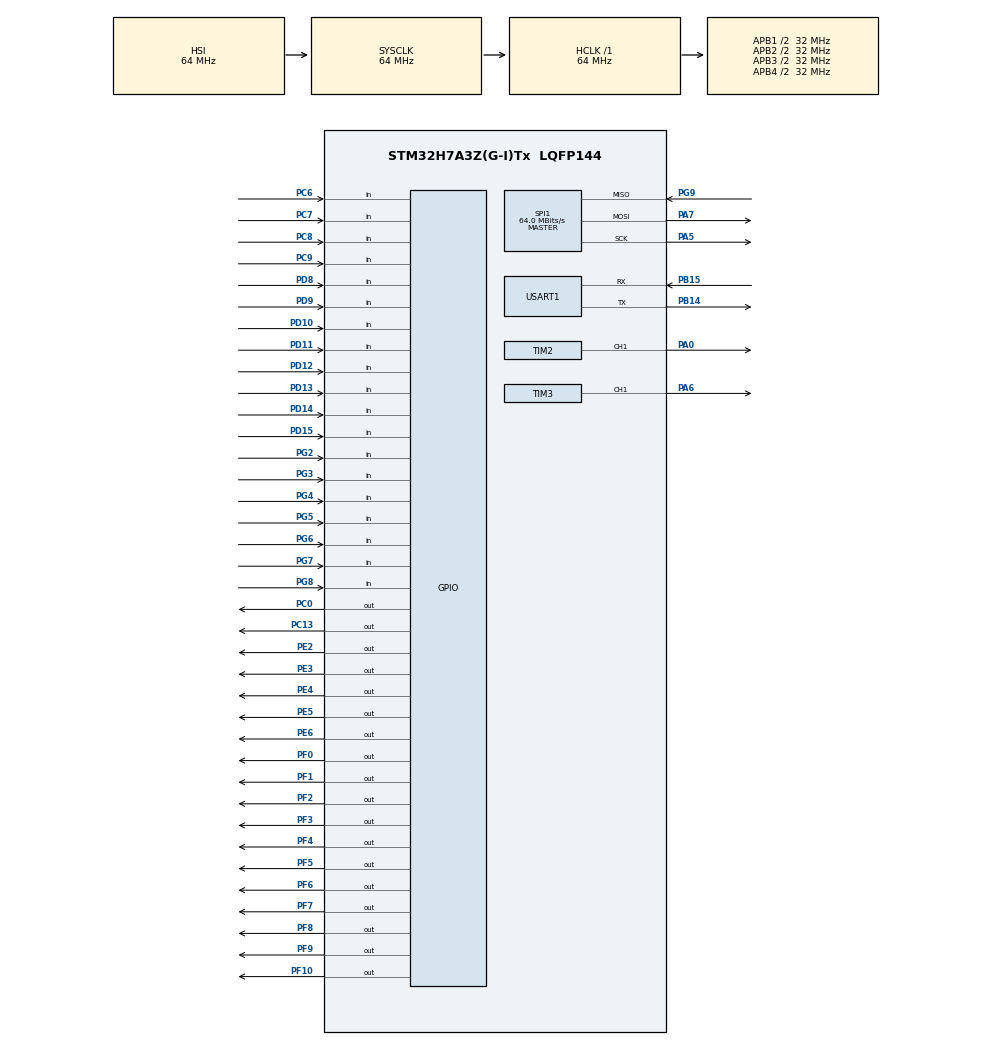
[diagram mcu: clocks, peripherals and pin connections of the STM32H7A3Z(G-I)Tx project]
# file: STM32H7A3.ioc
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Mcu.Family=STM32H7
Mcu.Name=STM32H7A3Z(G-I)Tx
Mcu.Package=LQFP144
NVIC.PriorityGroup=NVIC_PRIORITYGROUP_4
PA0.Signal=S_TIM2_CH1
PA13.Mode=Serial_Wire
PA13.Signal=DEBUG_JTMS-SWDIO
PA14.Mode=Serial_Wire
PA14.Signal=DEBUG_JTCK-SWCLK
PA5.Mode=Full_Duplex_Master
PA5.Signal=SPI1_SCK
PA6.Signal=S_TIM3_CH1
PA7.Mode=Full_Duplex_Master
PA7.Signal=SPI1_MOSI
PB14.Mode=Asynchronous
PB14.Signal=USART1_TX
PB15.Mode=Asynchronous
PB15.Signal=USART1_RX
PC0.Signal=GPIO_Output
PC13.Signal=GPIO_Output
PC6.Signal=GPIO_Input
PC7.Signal=GPIO_Input
PC8.Signal=GPIO_Input
PC9.Signal=GPIO_Input
PD10.Signal=GPIO_Input
PD11.Signal=GPIO_Input
PD12.Signal=GPIO_Input
PD13.Signal=GPIO_Input
PD14.Signal=GPIO_Input
PD15.Signal=GPIO_Input
PD8.Signal=GPIO_Input
PD9.Signal=GPIO_Input
PE2.Signal=GPIO_Output
PE3.Signal=GPIO_Output
PE4.Signal=GPIO_Output
PE5.Signal=GPIO_Output
PE6.Signal=GPIO_Output
PF0.Signal=GPIO_Output
PF1.Signal=GPIO_Output
PF10.Signal=GPIO_Output
PF2.Signal=GPIO_Output
PF3.Signal=GPIO_Output
PF4.Signal=GPIO_Output
PF5.Signal=GPIO_Output
PF6.Signal=GPIO_Output
PF7.Signal=GPIO_Output
PF8.Signal=GPIO_Output
PF9.Signal=GPIO_Output
PG2.Signal=GPIO_Input
PG3.Signal=GPIO_Input
PG4.Signal=GPIO_Input
PG5.Signal=GPIO_Input
PG6.Signal=GPIO_Input
PG7.Signal=GPIO_Input
PG8.Signal=GPIO_Input
PG9.Mode=Full_Duplex_Master
PG9.Signal=SPI1_MISO
ProjectManager.HeapSize=0x200
ProjectManager.StackSize=0x400
ProjectManager.TargetToolchain=EWARM V8.32
RCC.ADCFreq_Value=129000000
RCC.APB1Freq_Value=32000000
RCC.APB2Freq_Value=32000000
RCC.APB3Freq_Value=32000000
RCC.APB4Freq_Value=32000000
RCC.CDPPRE=RCC_APB3_DIV2
RCC.CDPPRE1=RCC_APB1_DIV2
RCC.CDPPRE2=RCC_APB2_DIV2
RCC.CortexFreq_Value=64000000
RCC.DIVM1=4
RCC.DIVN1=8
RCC.DIVQ1=1
RCC.HCLKFreq_Value=64000000
RCC.PLLFRACN=0
RCC.SRDPPRE=RCC_APB4_DIV2
RCC.SYSCLKFreq_VALUE=64000000
RCC.USBFreq_Value=128000000
SH.S_TIM2_CH1.0=TIM2_CH1,PWM Generation1 CH1
SH.S_TIM3_CH1.0=TIM3_CH1,PWM Generation1 CH1
SPI1.CalculateBaudRate=64.0 MBits/s
SPI1.Direction=SPI_DIRECTION_2LINES
SPI1.Mode=SPI_MODE_MASTER
SPI1.VirtualType=VM_MASTER
TIM2.Channel-PWM\ Generation1\ CH1=TIM_CHANNEL_1
TIM3.Channel-PWM\ Generation1\ CH1=TIM_CHANNEL_1
USART1.VirtualMode-Asynchronous=VM_ASYNC
board=custom

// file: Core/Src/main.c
/* USER CODE BEGIN Header */
/**
  ******************************************************************************
  * @file           : main.c
  * @brief          : Main program body
  ******************************************************************************
  * @attention
  *
  * <h2><center>&copy; Copyright (c) 2021 STMicroelectronics.
  * All rights reserved.</center></h2>
  *
  * This software component is licensed by ST under BSD 3-Clause license,
  * the "License"; You may not use this file except in compliance with the
  * License. You may obtain a copy of the License at:
  *                        opensource.org/licenses/BSD-3-Clause
  *
  ******************************************************************************
  */
/* USER CODE END Header */
#include "main.h"

/* USER CODE BEGIN PD */

// Inputs
#define REALIZE_BRAKES_PORT              GPIOD
#define MOTOR_Z_UP_PORT                  GPIOD
#define MOTOR_Z_DOWN_PORT                GPIOD
#define MOTOR_Z_LIMIT_UP_PORT            GPIOD
#define MOTOR_Z_LIMIT_DOWN_PORT          GPIOD
#define MOTOR_TILT_UP_PORT               GPIOD
#define MOTOR_TILT_DOWN_PORT             GPIOD
#define MOTOR_TILT_LIMIT_UP_PORT         GPIOD
#define MOTOR_TILT_LIMIT_DOWN_PORT       GPIOG
#define BRAKE_X_PORT                     GPIOG
#define BRAKE_ROTATE_PORT                GPIOG
#define BRAKE_SPARE_A_PORT               GPIOG
#define BRAKE_SPARE_B_PORT               GPIOG
#define BRAKE_SPARE_C_PORT               GPIOG
#define BRAKE_SPARE_D_PORT               GPIOG
#define END_AFFECTO_PORT                 GPIOC
#define NFAULT_GLOBAL_PORT               GPIOC
#define MOTOR_N_FORWARD_PORT             GPIOC
#define MOTOR_N_BACKWARD_PORT            GPIOC

#define REALIZE_BRAKES_PIN              GPIO_PIN_8
#define MOTOR_Z_UP_PIN                  GPIO_PIN_9
#define MOTOR_Z_DOWN_PIN                GPIO_PIN_10
#define MOTOR_Z_LIMIT_UP_PIN            GPIO_PIN_11
#define MOTOR_Z_LIMIT_DOWN_PIN          GPIO_PIN_12
#define MOTOR_TILT_UP_PIN               GPIO_PIN_13
#define MOTOR_TILT_DOWN_PIN             GPIO_PIN_14
#define MOTOR_TILT_LIMIT_UP_PIN         GPIO_PIN_15
#define MOTOR_TILT_LIMIT_DOWN_PIN       GPIO_PIN_2
#define BRAKE_X_PIN                     GPIO_PIN_3
#define BRAKE_ROTATE_PIN                GPIO_PIN_4
#define BRAKE_SPARE_A_PIN               GPIO_PIN_5
#define BRAKE_SPARE_B_PIN               GPIO_PIN_6
#define BRAKE_SPARE_C_PIN               GPIO_PIN_7
#define BRAKE_SPARE_D_PIN               GPIO_PIN_8
#define END_AFFECTO_PIN                 GPIO_PIN_6
#define NFAULT_GLOBAL_PIN               GPIO_PIN_7
#define MOTOR_N_FORWARD_PIN             GPIO_PIN_8
#define MOTOR_N_BACKWARD_PIN            GPIO_PIN_9

// Outputs
#define ENABLE_BRAKES_PORT       GPIOE
#define BRAKE_Z_ON_N_PORT        GPIOE
#define BRAKE_X_ON_N_PORT        GPIOE
#define BRAKE_TILT_ON_N_PORT     GPIOE
#define BRAKE_ROTATE_ON_PORT     GPIOE
#define BRAKE_SPARE_A_ON_PORT    GPIOC
#define BRAKE_SPARE_B_ON_PORT    GPIOF
#define BRAKE_SPARE_C_ON_PORT    GPIOF
#define BRAKE_SPARE_D_ON_PORT    GPIOF
#define MOTOR_Z_DIR_PORT         GPIOF
#define MOTOR_Z_ENABLE_PORT      GPIOF
#define MOTOR_TILT_DIR_PORT      GPIOF
#define MOTOR_TILT_ENABLE_PORT   GPIOF
#define END_AFFECTO_DIR_PORT     GPIOF
#define MOTOR_N_INA_PORT         GPIOF
#define MOTOR_N_INB_PORT         GPIOF
#define SPARE_ENABLE_A_PORT      GPIOF
#define SPARE_ENABLE_B_PORT      GPIOC

#define ENABLE_BRAKES_PIN       GPIO_PIN_2
#define BRAKE_Z_ON_N_PIN        GPIO_PIN_3
#define BRAKE_X_ON_N_PIN        GPIO_PIN_4
#define BRAKE_TILT_ON_N_PIN     GPIO_PIN_5
#define BRAKE_ROTATE_ON_PIN     GPIO_PIN_6
#define BRAKE_SPARE_A_ON_PIN    GPIO_PIN_13
#define BRAKE_SPARE_B_ON_PIN    GPIO_PIN_0
#define BRAKE_SPARE_C_ON_PIN    GPIO_PIN_1
#define BRAKE_SPARE_D_ON_PIN    GPIO_PIN_2
#define MOTOR_Z_DIR_PIN         GPIO_PIN_3
#define MOTOR_Z_ENABLE_PIN      GPIO_PIN_4
#define MOTOR_TILT_DIR_PIN      GPIO_PIN_5
#define MOTOR_TILT_ENABLE_PIN   GPIO_PIN_6
#define END_AFFECTO_DIR_PIN     GPIO_PIN_7
#define MOTOR_N_INA_PIN         GPIO_PIN_8
#define MOTOR_N_INB_PIN         GPIO_PIN_9
#define SPARE_ENABLE_A_PIN      GPIO_PIN_10
#define SPARE_ENABLE_B_PIN      GPIO_PIN_0

#define MOTOR_Z_STEP_TIM        htim2
#define MOTOR_Z_STEP_CH         1

#define MOTOR_TILT_STEP_TIM     htim3
#define MOTOR_TILT_STEP_CH      1

/* USER CODE END PD */

SPI_HandleTypeDef hspi1;

TIM_HandleTypeDef htim2;
TIM_HandleTypeDef htim3;

UART_HandleTypeDef huart1;

void SystemClock_Config(void);
static void MX_GPIO_Init(void);
static void MX_SPI1_Init(void);
static void MX_TIM2_Init(void);
static void MX_USART1_UART_Init(void);
static void MX_TIM3_Init(void);

int main(void)
{

  /* MCU Configuration--------------------------------------------------------*/

  /* Reset of all peripherals, Initializes the Flash interface and the Systick. */
  HAL_Init();

  /* Configure the system clock */
  SystemClock_Config();

  /* Initialize all configured peripherals */
  MX_GPIO_Init();
  MX_SPI1_Init();
  MX_TIM2_Init();
  MX_USART1_UART_Init();
  MX_TIM3_Init();

  /* Infinite loop */
  /* USER CODE BEGIN WHILE */
  while (1)
  {
    //Realize_brakes  = high 	Realize  all  brakes  	Enable_brakes	High= realize
    if(HAL_GPIO_ReadPin(REALIZE_BRAKES_PORT, REALIZE_BRAKES_PIN) == GPIO_PIN_SET)
      HAL_GPIO_WritePin(ENABLE_BRAKES_PORT, ENABLE_BRAKES_PIN, GPIO_PIN_SET);

    ////////////////////////////////////////////////////////////////////////////

    //Motor_z_up =H     Realize    brakes Z   Brake_z_on      Low  =  realize
    //                  Motor   Z  dir  = 1   Motor_Z_dir     High= up
    //                  Motor   Z  step pwm   Motor_Z_step    Pwm  1khz
    //                                        Motor_z_enable  Enable = high
    if(HAL_GPIO_ReadPin(MOTOR_Z_UP_PORT, MOTOR_Z_UP_PIN) == GPIO_PIN_SET)
    {
      HAL_GPIO_WritePin(BRAKE_Z_ON_N_PORT, BRAKE_Z_ON_N_PIN, GPIO_PIN_RESET);
      HAL_GPIO_WritePin(MOTOR_Z_DIR_PORT, MOTOR_Z_DIR_PIN, GPIO_PIN_SET);
      HAL_TIMEx_PWMN_Start(&MOTOR_Z_STEP_TIM, 1);
      HAL_GPIO_WritePin(MOTOR_Z_ENABLE_PORT, MOTOR_Z_ENABLE_PIN, GPIO_PIN_SET);
    }

    //Motor_z_down = H  Realize    brakes Z     Brake_z_on      Low  =  realize
    //                  Motor   Z  dir  = 0     Motor_Z_dir     low= down
    //                  Motor   Z  step pwm     Motor_Z_step    Pwm  1khz
    //                                          Motor_z_enable Enable = high
    if(HAL_GPIO_ReadPin(MOTOR_Z_DOWN_PORT, MOTOR_Z_DOWN_PIN) == GPIO_PIN_SET)
    {
      HAL_GPIO_WritePin(BRAKE_Z_ON_N_PORT, BRAKE_Z_ON_N_PIN, GPIO_PIN_RESET);
      HAL_GPIO_WritePin(MOTOR_Z_DIR_PORT, MOTOR_Z_DIR_PIN, GPIO_PIN_RESET);
      HAL_TIMEx_PWMN_Start(&MOTOR_Z_STEP_TIM, 1);
      HAL_GPIO_WritePin(MOTOR_Z_ENABLE_PORT, MOTOR_Z_ENABLE_PIN, GPIO_PIN_SET);
    }

    //Motor_z_up =low    Brake z  on    Motor_Z_step     High  =  hold
    //Motor_z_down =low  Motor z  stop  brake_z_on       Low = stop
    //                                  Motor_z_enable  Disable = low
    if((HAL_GPIO_ReadPin(MOTOR_Z_UP_PORT, MOTOR_Z_UP_PIN) == GPIO_PIN_RESET) &&
       (HAL_GPIO_ReadPin(MOTOR_Z_DOWN_PORT, MOTOR_Z_DOWN_PIN) == GPIO_PIN_RESET))
    {
      HAL_TIMEx_PWMN_Start(&MOTOR_Z_STEP_TIM, MOTOR_Z_STEP_CH);
      HAL_GPIO_WritePin(BRAKE_Z_ON_N_PORT, BRAKE_Z_ON_N_PIN, GPIO_PIN_RESET);
      HAL_GPIO_WritePin(MOTOR_Z_ENABLE_PORT, MOTOR_Z_ENABLE_PIN, GPIO_PIN_RESET);
    }

    //Motor_z_limit_up = high   move up   Motor_z_enable  Disable = low
    //And  motor_z_up = high	Limit
    if((HAL_GPIO_ReadPin(MOTOR_Z_LIMIT_UP_PORT, MOTOR_Z_LIMIT_UP_PIN) == GPIO_PIN_SET) &&
       (HAL_GPIO_ReadPin(MOTOR_Z_UP_PORT, MOTOR_Z_UP_PIN) == GPIO_PIN_SET))
      HAL_GPIO_WritePin(MOTOR_Z_ENABLE_PORT, MOTOR_Z_ENABLE_PIN, GPIO_PIN_RESET);

    //Motor_z_limit_Down = high   Limit  move down      Motor_z_enable 	Disable = low
    //And  motor_z_down = high
    if((HAL_GPIO_ReadPin(MOTOR_Z_LIMIT_DOWN_PORT, MOTOR_Z_LIMIT_DOWN_PIN) == GPIO_PIN_SET) &&
       (HAL_GPIO_ReadPin(MOTOR_Z_DOWN_PORT, MOTOR_Z_DOWN_PIN) == GPIO_PIN_SET))
      HAL_GPIO_WritePin(MOTOR_Z_ENABLE_PORT, MOTOR_Z_ENABLE_PIN, GPIO_PIN_RESET);

    ////////////////////////////////////////////////////////////////////////////

    //Motor_tilt_up =H	Realize    brakes  tilt 	        Brake_tilt_on 	       Low  =  realize
    //                             Motor   tilt  dir  = 1       Motor_tilt_dir         High= up
    //                             Motor   tilt  step     pwm	Motor_tilt_step        Pwm  1khz
    //                                                          Motor_tilt_enable      Enable=high
    if(HAL_GPIO_ReadPin(MOTOR_TILT_UP_PORT, MOTOR_TILT_UP_PIN) == GPIO_PIN_SET)
    {
      HAL_GPIO_WritePin(BRAKE_TILT_ON_N_PORT, BRAKE_TILT_ON_N_PIN, GPIO_PIN_RESET);
      HAL_GPIO_WritePin(MOTOR_TILT_DIR_PORT, MOTOR_TILT_DIR_PIN, GPIO_PIN_SET);
      HAL_TIMEx_OnePulseN_Start(&MOTOR_TILT_STEP_TIM, MOTOR_TILT_STEP_CH);
      HAL_GPIO_WritePin(MOTOR_TILT_ENABLE_PORT, MOTOR_TILT_ENABLE_PIN, GPIO_PIN_SET);
    }

    //Motor_tilt_down =H   Realize brakes  tilt        Brake_tilt_on 	   Low  =  realize
    //                     Motor   tilt  dir  = 0      Motor_tilt_dir      low= down
    //                     Motor   tilt  step  pwm     Motor_tilt_step     Pwm  1khz
    //                                                 Motor_tilt_enable   Enable = high
    if(HAL_GPIO_ReadPin(MOTOR_TILT_DOWN_PORT, MOTOR_TILT_DOWN_PIN) == GPIO_PIN_SET)
    {
      HAL_GPIO_WritePin(BRAKE_TILT_ON_N_PORT, BRAKE_TILT_ON_N_PIN, GPIO_PIN_RESET);
      HAL_GPIO_WritePin(MOTOR_TILT_DIR_PORT, MOTOR_TILT_DIR_PIN, GPIO_PIN_RESET);
      HAL_TIMEx_OnePulseN_Start(&MOTOR_TILT_STEP_TIM, MOTOR_TILT_STEP_CH);
      HAL_GPIO_WritePin(MOTOR_TILT_ENABLE_PORT, MOTOR_TILT_ENABLE_PIN, GPIO_PIN_SET);
    }

    //Motor_tilt_up =low     Brake tilt  on    Motor_tilt_step     High  =  hold
    //Motor_tilt_down =low   Motor tilt stop   brake_tilt_on       Low = stop
    //                                         Motor_tilt_enable   Disable= low
    if((HAL_GPIO_ReadPin(MOTOR_TILT_UP_PORT, MOTOR_TILT_UP_PIN) == GPIO_PIN_RESET) &&
       (HAL_GPIO_ReadPin(MOTOR_TILT_DOWN_PORT, MOTOR_TILT_DOWN_PIN) == GPIO_PIN_RESET))
    {
      HAL_TIMEx_PWMN_Start(&MOTOR_TILT_STEP_TIM, MOTOR_TILT_STEP_CH);
      HAL_GPIO_WritePin(BRAKE_TILT_ON_N_PORT, BRAKE_TILT_ON_N_PIN, GPIO_PIN_RESET);
      HAL_GPIO_WritePin(MOTOR_TILT_ENABLE_PORT, MOTOR_TILT_ENABLE_PIN, GPIO_PIN_RESET);
    }

    //Motor_tilt_limit_up = high        Limit  move up 	Motor_tilt_enable	Disable= low
    //And  motor_tilt_up = high
    if((HAL_GPIO_ReadPin(MOTOR_TILT_LIMIT_UP_PORT, MOTOR_TILT_LIMIT_UP_PIN) == GPIO_PIN_SET) &&
       (HAL_GPIO_ReadPin(MOTOR_TILT_UP_PORT, MOTOR_TILT_UP_PIN) == GPIO_PIN_SET))
      HAL_GPIO_WritePin(MOTOR_TILT_ENABLE_PORT, MOTOR_TILT_ENABLE_PIN, GPIO_PIN_RESET);

    //Motor_tilt_limit_Down = high   Limit  move down	Motor_tilt_enable	Disable= low
    //And  motor_tilt_down = high
    if((HAL_GPIO_ReadPin(MOTOR_TILT_LIMIT_DOWN_PORT, MOTOR_TILT_LIMIT_DOWN_PIN) == GPIO_PIN_SET) &&
       (HAL_GPIO_ReadPin(MOTOR_TILT_DOWN_PORT, MOTOR_TILT_DOWN_PIN) == GPIO_PIN_SET))
      HAL_GPIO_WritePin(MOTOR_TILT_ENABLE_PORT, MOTOR_TILT_ENABLE_PIN, GPIO_PIN_RESET);

    ////////////////////////////////////////////////////////////////////////////

    //Brake_X = H   Realize    brakes  X	Brake_x_on 	 Low  =  realize
    if(HAL_GPIO_ReadPin(BRAKE_X_PORT, BRAKE_X_PIN) == GPIO_PIN_SET)
      HAL_GPIO_WritePin(BRAKE_X_ON_N_PORT, BRAKE_X_ON_N_PIN, GPIO_PIN_RESET);

    //Brake_X = Low   brakes  X	Brake_x_on	High  =  hold
    if(HAL_GPIO_ReadPin(BRAKE_X_PORT, BRAKE_X_PIN) == GPIO_PIN_RESET)
      HAL_GPIO_WritePin(BRAKE_X_ON_N_PORT, BRAKE_X_ON_N_PIN, GPIO_PIN_SET);

    ////////////////////////////////////////////////////////////////////////////

    //Brake_rotate = H    Realize    brakes  X	Brake_x_on 	 Low  =  realize
    if(HAL_GPIO_ReadPin(BRAKE_ROTATE_PORT, BRAKE_ROTATE_PIN) == GPIO_PIN_SET)
      HAL_GPIO_WritePin(BRAKE_X_ON_N_PORT, BRAKE_X_ON_N_PIN, GPIO_PIN_RESET);

    //Brake_rotate = Low Brakes  X on	Brake_x_on	High  =  hold
    if(HAL_GPIO_ReadPin(BRAKE_ROTATE_PORT, BRAKE_ROTATE_PIN) == GPIO_PIN_RESET)
      HAL_GPIO_WritePin(BRAKE_X_ON_N_PORT, BRAKE_X_ON_N_PIN, GPIO_PIN_SET);

    ////////////////////////////////////////////////////////////////////////////

    //End_affecto = high   End_affecto move  in one direction	End_affecto_dir   High  = out
    //End_affecto = low                                                           Low = in
    if(HAL_GPIO_ReadPin(END_AFFECTO_PORT, END_AFFECTO_PIN) == GPIO_PIN_SET)
      HAL_GPIO_WritePin(END_AFFECTO_DIR_PORT, END_AFFECTO_DIR_PIN, GPIO_PIN_SET);

    if(HAL_GPIO_ReadPin(END_AFFECTO_PORT, END_AFFECTO_PIN) == GPIO_PIN_RESET)
      HAL_GPIO_WritePin(END_AFFECTO_DIR_PORT, END_AFFECTO_DIR_PIN, GPIO_PIN_RESET);

    ////////////////////////////////////////////////////////////////////////////

    //Motor_n_forward=HIGH	Move  motor N forward 	Motor_n_ina  Motor_n_ina = 1
    //                                                  Motor_n_inb  Motor_n_inb=0
    if(HAL_GPIO_ReadPin(MOTOR_N_FORWARD_PORT, MOTOR_N_FORWARD_PIN) == GPIO_PIN_SET)
    {
      HAL_GPIO_WritePin(MOTOR_N_INA_PORT, MOTOR_N_INA_PIN, GPIO_PIN_SET);
      HAL_GPIO_WritePin(MOTOR_N_INB_PORT, MOTOR_N_INB_PIN, GPIO_PIN_RESET);
    }

    //Motor_n_backward=HIGH	Move  motor N backward 	Motor_n_ina   Motor_n_ina = 0
    //                                                  Motor_n_inb   Motor_n_inb=1
    if(HAL_GPIO_ReadPin(MOTOR_N_BACKWARD_PORT, MOTOR_N_BACKWARD_PIN) == GPIO_PIN_SET)
    {
      HAL_GPIO_WritePin(MOTOR_N_INA_PORT, MOTOR_N_INA_PIN, GPIO_PIN_RESET);
      HAL_GPIO_WritePin(MOTOR_N_INB_PORT, MOTOR_N_INB_PIN, GPIO_PIN_SET);
    }

    //Motor_n_forward=Low   Motor n  stop   Motor_n_ina   Motor_n_ina = 0
    //Motor_n_backward=Low	            Motor_n_inb   Motor_n_inb=0
    if((HAL_GPIO_ReadPin(MOTOR_N_FORWARD_PORT, MOTOR_N_FORWARD_PIN) == GPIO_PIN_RESET) &&
      (HAL_GPIO_ReadPin(MOTOR_N_BACKWARD_PORT, MOTOR_N_BACKWARD_PIN) == GPIO_PIN_RESET))
    {
      HAL_GPIO_WritePin(MOTOR_N_INA_PORT, MOTOR_N_INA_PIN, GPIO_PIN_RESET);
      HAL_GPIO_WritePin(MOTOR_N_INB_PORT, MOTOR_N_INB_PIN, GPIO_PIN_RESET);
    }

    /* USER CODE END WHILE */

  }
}

void SystemClock_Config(void)
{
  RCC_OscInitTypeDef RCC_OscInitStruct = {0};
  RCC_ClkInitTypeDef RCC_ClkInitStruct = {0};

  /** Supply configuration update enable
  */
  //HAL_PWREx_ConfigSupply(PWR_DIRECT_SMPS_SUPPLY);
  /** Configure the main internal regulator output voltage
  */
  __HAL_PWR_VOLTAGESCALING_CONFIG(PWR_REGULATOR_VOLTAGE_SCALE3);

  while(!__HAL_PWR_GET_FLAG(PWR_FLAG_VOSRDY)) {}
  /** Initializes the RCC Oscillators according to the specified parameters
  * in the RCC_OscInitTypeDef structure.
  */
  RCC_OscInitStruct.OscillatorType = RCC_OSCILLATORTYPE_HSI;
  RCC_OscInitStruct.HSIState = RCC_HSI_DIV1;
  RCC_OscInitStruct.HSICalibrationValue = RCC_HSICALIBRATION_DEFAULT;
  RCC_OscInitStruct.PLL.PLLState = RCC_PLL_ON;
  RCC_OscInitStruct.PLL.PLLSource = RCC_PLLSOURCE_HSI;
  RCC_OscInitStruct.PLL.PLLM = 4;
  RCC_OscInitStruct.PLL.PLLN = 8;
  RCC_OscInitStruct.PLL.PLLP = 2;
  RCC_OscInitStruct.PLL.PLLQ = 1;
  RCC_OscInitStruct.PLL.PLLR = 2;
  RCC_OscInitStruct.PLL.PLLRGE = RCC_PLL1VCIRANGE_3;
  RCC_OscInitStruct.PLL.PLLVCOSEL = RCC_PLL1VCOWIDE;
  RCC_OscInitStruct.PLL.PLLFRACN = 0;
  if (HAL_RCC_OscConfig(&RCC_OscInitStruct) != HAL_OK)
  {
    Error_Handler();
  }
  /** Initializes the CPU, AHB and APB buses clocks
  */
  RCC_ClkInitStruct.ClockType = RCC_CLOCKTYPE_HCLK|RCC_CLOCKTYPE_SYSCLK
                              |RCC_CLOCKTYPE_PCLK1|RCC_CLOCKTYPE_PCLK2
                              |RCC_CLOCKTYPE_D3PCLK1|RCC_CLOCKTYPE_D1PCLK1;
  RCC_ClkInitStruct.SYSCLKSource = RCC_SYSCLKSOURCE_HSI;
  RCC_ClkInitStruct.SYSCLKDivider = RCC_SYSCLK_DIV1;
  RCC_ClkInitStruct.AHBCLKDivider = RCC_HCLK_DIV1;
  RCC_ClkInitStruct.APB3CLKDivider = RCC_APB3_DIV2;
  RCC_ClkInitStruct.APB1CLKDivider = RCC_APB1_DIV2;
  RCC_ClkInitStruct.APB2CLKDivider = RCC_APB2_DIV2;
  RCC_ClkInitStruct.APB4CLKDivider = RCC_APB4_DIV2;

  if (HAL_RCC_ClockConfig(&RCC_ClkInitStruct, FLASH_LATENCY_2) != HAL_OK)
  {
    Error_Handler();
  }
}

static void MX_SPI1_Init(void)
{

  /* SPI1 parameter configuration*/
  hspi1.Instance = SPI1;
  hspi1.Init.Mode = SPI_MODE_MASTER;
  hspi1.Init.Direction = SPI_DIRECTION_2LINES;
  hspi1.Init.DataSize = SPI_DATASIZE_4BIT;
  hspi1.Init.CLKPolarity = SPI_POLARITY_LOW;
  hspi1.Init.CLKPhase = SPI_PHASE_1EDGE;
  hspi1.Init.NSS = SPI_NSS_SOFT;
  hspi1.Init.BaudRatePrescaler = SPI_BAUDRATEPRESCALER_2;
  hspi1.Init.FirstBit = SPI_FIRSTBIT_MSB;
  hspi1.Init.TIMode = SPI_TIMODE_DISABLE;
  hspi1.Init.CRCCalculation = SPI_CRCCALCULATION_DISABLE;
  hspi1.Init.CRCPolynomial = 0x0;
  hspi1.Init.NSSPMode = SPI_NSS_PULSE_ENABLE;
  hspi1.Init.NSSPolarity = SPI_NSS_POLARITY_LOW;
  hspi1.Init.FifoThreshold = SPI_FIFO_THRESHOLD_01DATA;
  hspi1.Init.TxCRCInitializationPattern = SPI_CRC_INITIALIZATION_ALL_ZERO_PATTERN;
  hspi1.Init.RxCRCInitializationPattern = SPI_CRC_INITIALIZATION_ALL_ZERO_PATTERN;
  hspi1.Init.MasterSSIdleness = SPI_MASTER_SS_IDLENESS_00CYCLE;
  hspi1.Init.MasterInterDataIdleness = SPI_MASTER_INTERDATA_IDLENESS_00CYCLE;
  hspi1.Init.MasterReceiverAutoSusp = SPI_MASTER_RX_AUTOSUSP_DISABLE;
  hspi1.Init.MasterKeepIOState = SPI_MASTER_KEEP_IO_STATE_DISABLE;
  hspi1.Init.IOSwap = SPI_IO_SWAP_DISABLE;
  if (HAL_SPI_Init(&hspi1) != HAL_OK)
  {
    Error_Handler();
  }

}

static void MX_TIM2_Init(void)
{

  TIM_MasterConfigTypeDef sMasterConfig = {0};
  TIM_OC_InitTypeDef sConfigOC = {0};

  htim2.Instance = TIM2;
  htim2.Init.Prescaler = 0;
  htim2.Init.CounterMode = TIM_COUNTERMODE_UP;
  htim2.Init.Period = 4294967295;
  htim2.Init.ClockDivision = TIM_CLOCKDIVISION_DIV1;
  htim2.Init.AutoReloadPreload = TIM_AUTORELOAD_PRELOAD_DISABLE;
  if (HAL_TIM_PWM_Init(&htim2) != HAL_OK)
  {
    Error_Handler();
  }
  sMasterConfig.MasterOutputTrigger = TIM_TRGO_RESET;
  sMasterConfig.MasterSlaveMode = TIM_MASTERSLAVEMODE_DISABLE;
  if (HAL_TIMEx_MasterConfigSynchronization(&htim2, &sMasterConfig) != HAL_OK)
  {
    Error_Handler();
  }
  sConfigOC.OCMode = TIM_OCMODE_PWM1;
  sConfigOC.Pulse = 0;
  sConfigOC.OCPolarity = TIM_OCPOLARITY_HIGH;
  sConfigOC.OCFastMode = TIM_OCFAST_DISABLE;
  if (HAL_TIM_PWM_ConfigChannel(&htim2, &sConfigOC, TIM_CHANNEL_1) != HAL_OK)
  {
    Error_Handler();
  }
  HAL_TIM_MspPostInit(&htim2);

}

static void MX_TIM3_Init(void)
{

  TIM_MasterConfigTypeDef sMasterConfig = {0};
  TIM_OC_InitTypeDef sConfigOC = {0};

  htim3.Instance = TIM3;
  htim3.Init.Prescaler = 0;
  htim3.Init.CounterMode = TIM_COUNTERMODE_UP;
  htim3.Init.Period = 65535;
  htim3.Init.ClockDivision = TIM_CLOCKDIVISION_DIV1;
  htim3.Init.AutoReloadPreload = TIM_AUTORELOAD_PRELOAD_DISABLE;
  if (HAL_TIM_PWM_Init(&htim3) != HAL_OK)
  {
    Error_Handler();
  }
  sMasterConfig.MasterOutputTrigger = TIM_TRGO_RESET;
  sMasterConfig.MasterSlaveMode = TIM_MASTERSLAVEMODE_DISABLE;
  if (HAL_TIMEx_MasterConfigSynchronization(&htim3, &sMasterConfig) != HAL_OK)
  {
    Error_Handler();
  }
  sConfigOC.OCMode = TIM_OCMODE_PWM1;
  sConfigOC.Pulse = 0;
  sConfigOC.OCPolarity = TIM_OCPOLARITY_HIGH;
  sConfigOC.OCFastMode = TIM_OCFAST_DISABLE;
  if (HAL_TIM_PWM_ConfigChannel(&htim3, &sConfigOC, TIM_CHANNEL_1) != HAL_OK)
  {
    Error_Handler();
  }
  HAL_TIM_MspPostInit(&htim3);

}

static void MX_USART1_UART_Init(void)
{

  huart1.Instance = USART1;
  huart1.Init.BaudRate = 115200;
  huart1.Init.WordLength = UART_WORDLENGTH_8B;
  huart1.Init.StopBits = UART_STOPBITS_1;
  huart1.Init.Parity = UART_PARITY_NONE;
  huart1.Init.Mode = UART_MODE_TX_RX;
  huart1.Init.HwFlowCtl = UART_HWCONTROL_NONE;
  huart1.Init.OverSampling = UART_OVERSAMPLING_16;
  huart1.Init.OneBitSampling = UART_ONE_BIT_SAMPLE_DISABLE;
  huart1.Init.ClockPrescaler = UART_PRESCALER_DIV1;
  huart1.AdvancedInit.AdvFeatureInit = UART_ADVFEATURE_NO_INIT;
  if (HAL_UART_Init(&huart1) != HAL_OK)
  {
    Error_Handler();
  }
  if (HAL_UARTEx_SetTxFifoThreshold(&huart1, UART_TXFIFO_THRESHOLD_1_8) != HAL_OK)
  {
    Error_Handler();
  }
  if (HAL_UARTEx_SetRxFifoThreshold(&huart1, UART_RXFIFO_THRESHOLD_1_8) != HAL_OK)
  {
    Error_Handler();
  }
  if (HAL_UARTEx_DisableFifoMode(&huart1) != HAL_OK)
  {
    Error_Handler();
  }

}

static void MX_GPIO_Init(void)
{
  GPIO_InitTypeDef GPIO_InitStruct = {0};

  /* GPIO Ports Clock Enable */
  __HAL_RCC_GPIOE_CLK_ENABLE();
  __HAL_RCC_GPIOC_CLK_ENABLE();
  __HAL_RCC_GPIOF_CLK_ENABLE();
  __HAL_RCC_GPIOA_CLK_ENABLE();
  __HAL_RCC_GPIOB_CLK_ENABLE();
  __HAL_RCC_GPIOD_CLK_ENABLE();
  __HAL_RCC_GPIOG_CLK_ENABLE();

  /*Configure GPIO pin Output Level */
  HAL_GPIO_WritePin(GPIOE, GPIO_PIN_2|GPIO_PIN_3|GPIO_PIN_4|GPIO_PIN_5
                          |GPIO_PIN_6, GPIO_PIN_RESET);

  /*Configure GPIO pin Output Level */
  HAL_GPIO_WritePin(GPIOC, GPIO_PIN_13|GPIO_PIN_0, GPIO_PIN_RESET);

  /*Configure GPIO pin Output Level */
  HAL_GPIO_WritePin(GPIOF, GPIO_PIN_0|GPIO_PIN_1|GPIO_PIN_2|GPIO_PIN_3
                          |GPIO_PIN_4|GPIO_PIN_5|GPIO_PIN_6|GPIO_PIN_7
                          |GPIO_PIN_8|GPIO_PIN_9|GPIO_PIN_10, GPIO_PIN_RESET);

  /*Configure GPIO pins : PE2 PE3 PE4 PE5
                           PE6 */
  GPIO_InitStruct.Pin = GPIO_PIN_2|GPIO_PIN_3|GPIO_PIN_4|GPIO_PIN_5
                          |GPIO_PIN_6;
  GPIO_InitStruct.Mode = GPIO_MODE_OUTPUT_PP;
  GPIO_InitStruct.Pull = GPIO_NOPULL;
  GPIO_InitStruct.Speed = GPIO_SPEED_FREQ_LOW;
  HAL_GPIO_Init(GPIOE, &GPIO_InitStruct);

  /*Configure GPIO pins : PC13 PC0 */
  GPIO_InitStruct.Pin = GPIO_PIN_13|GPIO_PIN_0;
  GPIO_InitStruct.Mode = GPIO_MODE_OUTPUT_PP;
  GPIO_InitStruct.Pull = GPIO_NOPULL;
  GPIO_InitStruct.Speed = GPIO_SPEED_FREQ_LOW;
  HAL_GPIO_Init(GPIOC, &GPIO_InitStruct);

  /*Configure GPIO pins : PF0 PF1 PF2 PF3
                           PF4 PF5 PF6 PF7
                           PF8 PF9 PF10 */
  GPIO_InitStruct.Pin = GPIO_PIN_0|GPIO_PIN_1|GPIO_PIN_2|GPIO_PIN_3
                          |GPIO_PIN_4|GPIO_PIN_5|GPIO_PIN_6|GPIO_PIN_7
                          |GPIO_PIN_8|GPIO_PIN_9|GPIO_PIN_10;
  GPIO_InitStruct.Mode = GPIO_MODE_OUTPUT_PP;
  GPIO_InitStruct.Pull = GPIO_NOPULL;
  GPIO_InitStruct.Speed = GPIO_SPEED_FREQ_LOW;
  HAL_GPIO_Init(GPIOF, &GPIO_InitStruct);

  /*Configure GPIO pins : PD8 PD9 PD10 PD11
                           PD12 PD13 PD14 PD15 */
  GPIO_InitStruct.Pin = GPIO_PIN_8|GPIO_PIN_9|GPIO_PIN_10|GPIO_PIN_11
                          |GPIO_PIN_12|GPIO_PIN_13|GPIO_PIN_14|GPIO_PIN_15;
  GPIO_InitStruct.Mode = GPIO_MODE_INPUT;
  GPIO_InitStruct.Pull = GPIO_NOPULL;
  HAL_GPIO_Init(GPIOD, &GPIO_InitStruct);

  /*Configure GPIO pins : PG2 PG3 PG4 PG5
                           PG6 PG7 PG8 */
  GPIO_InitStruct.Pin = GPIO_PIN_2|GPIO_PIN_3|GPIO_PIN_4|GPIO_PIN_5
                          |GPIO_PIN_6|GPIO_PIN_7|GPIO_PIN_8;
  GPIO_InitStruct.Mode = GPIO_MODE_INPUT;
  GPIO_InitStruct.Pull = GPIO_NOPULL;
  HAL_GPIO_Init(GPIOG, &GPIO_InitStruct);

  /*Configure GPIO pins : PC6 PC7 PC8 PC9 */
  GPIO_InitStruct.Pin = GPIO_PIN_6|GPIO_PIN_7|GPIO_PIN_8|GPIO_PIN_9;
  GPIO_InitStruct.Mode = GPIO_MODE_INPUT;
  GPIO_InitStruct.Pull = GPIO_NOPULL;
  HAL_GPIO_Init(GPIOC, &GPIO_InitStruct);

}

void Error_Handler(void)
{
  __disable_irq();
  while (1)
  {
  }
}

/************************ (C) COPYRIGHT STMicroelectronics *****END OF FILE****/
